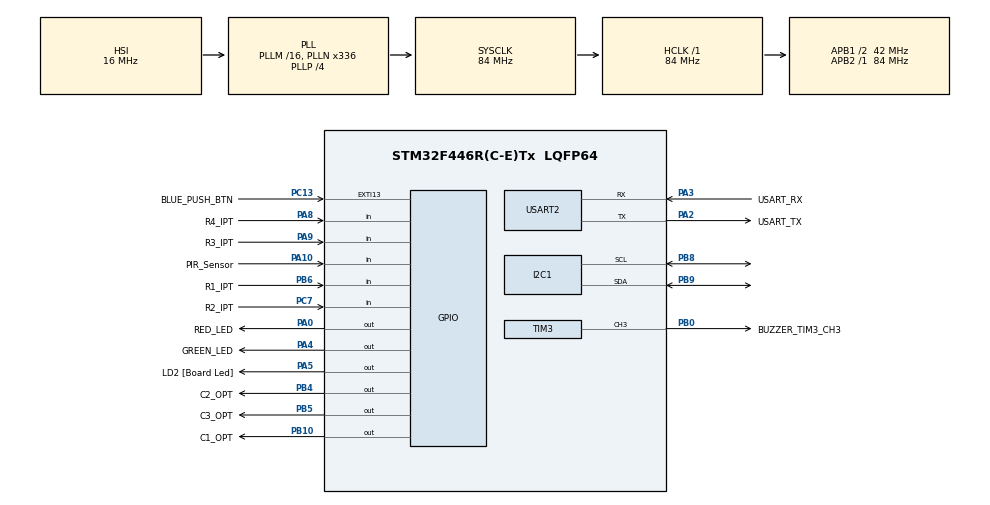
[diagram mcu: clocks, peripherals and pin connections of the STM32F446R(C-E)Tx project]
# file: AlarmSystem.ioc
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FREERTOS.Mutexes01=myMutex,Dynamic,NULL,Available;isArmedMutex,Dynamic,NULL,Available
FREERTOS.Queues01=myQueue01,6,uint16_t,0,Dynamic,NULL,NULL
FREERTOS.Tasks01=KeyPadIptTask,24,128,StartKeyPadIptTask,Default,NULL,Dynamic,NULL,NULL;LCDLine2Pword,24,128,StartLCDLine2PwordTask,Default,NULL,Dynamic,NULL,NULL;Red_LEDTask,24,128,StartRED_LEDTask,Default,NULL,Dynamic,NULL,NULL;Green_LEDTask,24,128,StartGreen_LEDTask,Default,NULL,Dynamic,NULL,NULL;LCDLine1Task,24,128,StartLCDLine1Task,Default,NULL,Dynamic,NULL,NULL;resetPwordTask,24,128,StartResetPwordTask,Default,NULL,Dynamic,NULL,NULL;PIRsensorTask,24,128,StartPIRsensorTask,Default,NULL,Dynamic,NULL,NULL;LCDLine2TIM,24,128,StartLCDLine2TIMTask,Default,NULL,Dynamic,NULL,NULL
FREERTOS.configUSE_NEWLIB_REENTRANT=1
Mcu.Family=STM32F4
Mcu.Name=STM32F446R(C-E)Tx
Mcu.Package=LQFP64
NVIC.EXTI15_10_IRQn=true\:5\:0\:false\:false\:true\:true\:true\:true\:true
NVIC.PriorityGroup=NVIC_PRIORITYGROUP_4
NVIC.TIM6_DAC_IRQn=true\:15\:0\:false\:false\:true\:false\:false\:true\:true
NVIC.TimeBase=TIM6_DAC_IRQn
NVIC.TimeBaseIP=TIM6
PA0-WKUP.GPIO_Label=RED_LED
PA0-WKUP.Signal=GPIO_Output
PA10.GPIO_Label=PIR_Sensor
PA10.Signal=GPIO_Input
PA13.GPIO_Label=TMS
PA13.Mode=Serial_Wire
PA13.Signal=SYS_JTMS-SWDIO
PA14.GPIO_Label=TCK
PA14.Mode=Serial_Wire
PA14.Signal=SYS_JTCK-SWCLK
PA2.GPIO_Label=USART_TX
PA2.Mode=Asynchronous
PA2.Signal=USART2_TX
PA3.GPIO_Label=USART_RX
PA3.Mode=Asynchronous
PA3.Signal=USART2_RX
PA4.GPIO_Label=GREEN_LED
PA4.Signal=GPIO_Output
PA5.GPIO_Label=LD2 [Board Led]
PA5.Signal=GPIO_Output
PA8.GPIO_Label=R4_IPT
PA8.GPIO_PuPd=GPIO_PULLUP
PA8.Signal=GPIO_Input
PA9.GPIO_Label=R3_IPT
PA9.GPIO_PuPd=GPIO_PULLUP
PA9.Signal=GPIO_Input
PB0.GPIO_Label=BUZZER_TIM3_CH3
PB0.Signal=S_TIM3_CH3
PB10.GPIO_Label=C1_OPT
PB10.PinState=GPIO_PIN_RESET
PB10.Signal=GPIO_Output
PB3.GPIO_Label=SWO
PB3.Signal=SYS_JTDO-SWO
PB4.GPIO_Label=C2_OPT
PB4.PinState=GPIO_PIN_RESET
PB4.Signal=GPIO_Output
PB5.GPIO_Label=C3_OPT
PB5.PinState=GPIO_PIN_RESET
PB5.Signal=GPIO_Output
PB6.GPIO_Label=R1_IPT
PB6.GPIO_PuPd=GPIO_PULLUP
PB6.Signal=GPIO_Input
PB8.Mode=I2C
PB8.Signal=I2C1_SCL
PB9.Mode=I2C
PB9.Signal=I2C1_SDA
PC13.GPIO_Label=BLUE_PUSH_BTN
PC13.GPIO_ModeDefaultEXTI=GPIO_MODE_IT_FALLING
PC13.Signal=GPXTI13
PC14-OSC32_IN.Mode=LSE-External-Oscillator
PC14-OSC32_IN.Signal=RCC_OSC32_IN
PC15-OSC32_OUT.Mode=LSE-External-Oscillator
PC15-OSC32_OUT.Signal=RCC_OSC32_OUT
PC7.GPIO_Label=R2_IPT
PC7.GPIO_PuPd=GPIO_PULLUP
PC7.Signal=GPIO_Input
PH0-OSC_IN.Mode=HSE-External-Oscillator
PH0-OSC_IN.Signal=RCC_OSC_IN
PH1-OSC_OUT.Mode=HSE-External-Oscillator
PH1-OSC_OUT.Signal=RCC_OSC_OUT
ProjectManager.HeapSize=0x200
ProjectManager.StackSize=0x400
ProjectManager.TargetToolchain=STM32CubeIDE
RCC.48MHZClocksFreq_Value=84000000
RCC.AHBFreq_Value=84000000
RCC.APB1CLKDivider=RCC_HCLK_DIV2
RCC.APB1Freq_Value=42000000
RCC.APB1TimFreq_Value=84000000
RCC.APB2Freq_Value=84000000
RCC.APB2TimFreq_Value=84000000
RCC.CortexFreq_Value=84000000
RCC.FLatency-AdvancedSettings=FLASH_LATENCY_2
RCC.HCLKFreq_Value=84000000
RCC.HSE_VALUE=8000000
RCC.HSI_VALUE=16000000
RCC.PLLN=336
RCC.PLLP=RCC_PLLP_DIV4
RCC.SYSCLKFreq_VALUE=84000000
RCC.SYSCLKSource=RCC_SYSCLKSOURCE_PLLCLK
RCC.USBFreq_Value=168000000
RCC.VCOOutputFreq_Value=336000000
SH.S_TIM3_CH3.0=TIM3_CH3,PWM Generation3 CH3
TIM3.AutoReloadPreload=TIM_AUTORELOAD_PRELOAD_DISABLE
TIM3.Channel-PWM\ Generation3\ CH3=TIM_CHANNEL_3
TIM3.Period=1000-1
TIM3.Prescaler=84-1
USART2.VirtualMode=VM_ASYNC
VP_FREERTOS_VS_CMSIS_V2.Mode=CMSIS_V2
VP_SYS_VS_tim6.Mode=TIM6
VP_TIM3_VS_ClockSourceINT.Mode=Internal
board=NUCLEO-F446RE

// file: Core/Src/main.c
/* USER CODE BEGIN Header */
/**
  ******************************************************************************
  * @file           : main.c
  * @brief          : Main program body
  ******************************************************************************
  * @attention
  *
  * Copyright (c) 2025 STMicroelectronics.
  * All rights reserved.
  *
  * This software is licensed under terms that can be found in the LICENSE file
  * in the root directory of this software component.
  * If no LICENSE file comes with this software, it is provided AS-IS.
  *
  ******************************************************************************
  */
/* USER CODE END Header */
#include "main.h"
#include "cmsis_os.h"

/* USER CODE BEGIN Includes */
#include "stm32f4xx_hal.h"
#include "liquidcrystal_i2c.h"
/* USER CODE END Includes */

/* USER CODE BEGIN PM */
#define ARMED 0x00
#define DISARMED 0x01
#define OLD_PASSWORD 0x10
#define NEW_PASSWORD 0x11
#define ENTER_KEY 0xFF

#define MAX_PASSWORD_LENGTH 6
#define MIN_PASSWORD_LENGTH 4

#define START_ADDRESS 0x08060000

/* USER CODE END PM */

I2C_HandleTypeDef hi2c1;

TIM_HandleTypeDef htim3;

UART_HandleTypeDef huart2;

/* Definitions for KeyPadIptTask */
osThreadId_t KeyPadIptTaskHandle;
const osThreadAttr_t KeyPadIptTask_attributes = {
  .name = "KeyPadIptTask",
  .stack_size = 128 * 4,
  .priority = (osPriority_t) osPriorityNormal,
};
/* Definitions for LCDLine2Pword */
osThreadId_t LCDLine2PwordHandle;
const osThreadAttr_t LCDLine2Pword_attributes = {
  .name = "LCDLine2Pword",
  .stack_size = 128 * 4,
  .priority = (osPriority_t) osPriorityNormal,
};
/* Definitions for Red_LEDTask */
osThreadId_t Red_LEDTaskHandle;
const osThreadAttr_t Red_LEDTask_attributes = {
  .name = "Red_LEDTask",
  .stack_size = 128 * 4,
  .priority = (osPriority_t) osPriorityNormal,
};
/* Definitions for Green_LEDTask */
osThreadId_t Green_LEDTaskHandle;
const osThreadAttr_t Green_LEDTask_attributes = {
  .name = "Green_LEDTask",
  .stack_size = 128 * 4,
  .priority = (osPriority_t) osPriorityNormal,
};
/* Definitions for LCDLine1Task */
osThreadId_t LCDLine1TaskHandle;
const osThreadAttr_t LCDLine1Task_attributes = {
  .name = "LCDLine1Task",
  .stack_size = 128 * 4,
  .priority = (osPriority_t) osPriorityNormal,
};
/* Definitions for resetPwordTask */
osThreadId_t resetPwordTaskHandle;
const osThreadAttr_t resetPwordTask_attributes = {
  .name = "resetPwordTask",
  .stack_size = 128 * 4,
  .priority = (osPriority_t) osPriorityNormal,
};
/* Definitions for PIRsensorTask */
osThreadId_t PIRsensorTaskHandle;
const osThreadAttr_t PIRsensorTask_attributes = {
  .name = "PIRsensorTask",
  .stack_size = 128 * 4,
  .priority = (osPriority_t) osPriorityNormal,
};
/* Definitions for LCDLine2TIM */
osThreadId_t LCDLine2TIMHandle;
const osThreadAttr_t LCDLine2TIM_attributes = {
  .name = "LCDLine2TIM",
  .stack_size = 128 * 4,
  .priority = (osPriority_t) osPriorityNormal,
};
/* Definitions for myQueue01 */
osMessageQueueId_t myQueue01Handle;
const osMessageQueueAttr_t myQueue01_attributes = {
  .name = "myQueue01"
};
/* Definitions for myMutex */
osMutexId_t myMutexHandle;
const osMutexAttr_t myMutex_attributes = {
  .name = "myMutex"
};
/* Definitions for isArmedMutex */
osMutexId_t isArmedMutexHandle;
const osMutexAttr_t isArmedMutex_attributes = {
  .name = "isArmedMutex"
};

void SystemClock_Config(void);
static void MX_GPIO_Init(void);
static void MX_USART2_UART_Init(void);
static void MX_I2C1_Init(void);
static void MX_TIM3_Init(void);
void StartKeyPadIptTask(void *argument);
void StartLCDLine2PwordTask(void *argument);
void StartRED_LEDTask(void *argument);
void StartGreen_LEDTask(void *argument);
void StartLCDLine1Task(void *argument);
void StartResetPwordTask(void *argument);
void StartPIRsensorTask(void *argument);
void StartLCDLine2TIMTask(void *argument);

/* USER CODE BEGIN 0 */

//void HAL_GPIO_EXTI_Callback(uint16_t GPIO_Pin){
//	if(GPIO_Pin==BLUE_PUSH_BTN_Pin){
//		BaseType_t xHigherPriorityTaskWoken = pdFALSE;
//		xTaskNotifyFromISR(LCDLine2TaskHandle,0xFE,eSetValueWithOverwrite,&xHigherPriorityTaskWoken);
//		portYIELD_FROM_ISR(xHigherPriorityTaskWoken);
//	}
//}

// Function to convert ASCII value to char (integer from 0-9 inclusive)
char ASCIItoChar(uint8_t asciiVal){
    return (char)(asciiVal+0);
}

// Function to write to flash

void Write_to_Flash(uint32_t startMemAddress,char* data){
	FLASH_EraseInitTypeDef flash_erase_struct={0};

	// 1) Unlock the flash
	HAL_FLASH_Unlock();

	// 2) Set necessary fields in the flash data structure
	flash_erase_struct.NbSectors=1;
	flash_erase_struct.Sector=FLASH_SECTOR_7;
	flash_erase_struct.VoltageRange=FLASH_VOLTAGE_RANGE_3;
	flash_erase_struct.TypeErase=FLASH_TYPEERASE_SECTORS;

	// 3) Erase the flash sector that we will write to (in this case last sector)
	uint32_t  error_status;
	HAL_FLASHEx_Erase(&flash_erase_struct, &error_status);

	// 4) Write to the flash starting at the sector address
	//    Writing is done in contiguous memory
	uint32_t memAddress=startMemAddress;
	for(int i=0;i<strlen(data);i++){
		HAL_FLASH_Program(FLASH_TYPEPROGRAM_BYTE, memAddress, data[i]);
		memAddress++;
	}

	// 5) Lock the flash when done writing
	HAL_FLASH_Lock();
}

// Function to read from Flash memory
// Returns the string stored in the Flash address
char* Read_from_Flash(uint32_t startMemAddress){

	// Pointer to first address in the sector in Flash
	uint8_t* flash_address = (uint8_t*)startMemAddress;

	// Static array so that it is not destroyed upon return from the function
	// If so it would have been stored on the stack,
	// but now it is stored on BSS segment
	static char pwordInFlash[6];

	int cnt=0;
	while(1){
		// When we reach ASCII value larger than 57 (9 in decimal)
		// We reach an area in Flash that contains garbage values as nothing
		// was written to it.
		if(*flash_address>57){
			break;
		}

		// Convert from ASCII to decimal
		// Increase the pointer to go to next value in Flash memory
		pwordInFlash[cnt++]=ASCIItoChar(*(flash_address++));
	}
	// Null terminated array
	pwordInFlash[cnt]='\0';

	return pwordInFlash;
}

// Function writes * symbols on screen every keypad press
void Write_To_LCD(int cnt){
	//Write respective amount of * characters on screen
	char screenContent[cnt];
	memset(screenContent,'*',cnt);
	screenContent[cnt]='\0';

	// use mutex to synchronize use of shared ressource (LCD screen)
	osMutexAcquire(myMutexHandle, osWaitForever);
	HD44780_SetCursor(0,1);
	HD44780_PrintStr(screenContent);
	osMutexRelease(myMutexHandle);
}

// Clear Line 2 of LCD Screen
void Clear_LCD_Line2Screen(){

	// use mutex to synchronize use of shared ressource (LCD screen)
	osMutexAcquire(myMutexHandle, osWaitForever);
	//Erase line 2 of LCD Screen with spaces.
	HD44780_SetCursor(0,1);
	for(int i=0;i<16;i++){
		HD44780_PrintStr(" ");
	}
	osMutexRelease(myMutexHandle);
}

/* USER CODE END 0 */

int main(void)
{

  /* MCU Configuration--------------------------------------------------------*/

  /* Reset of all peripherals, Initializes the Flash interface and the Systick. */
  HAL_Init();

  /* Configure the system clock */
  SystemClock_Config();

  /* Initialize all configured peripherals */
  MX_GPIO_Init();
  MX_USART2_UART_Init();
  MX_I2C1_Init();
  MX_TIM3_Init();
  /* USER CODE BEGIN 2 */
  HAL_TIM_PWM_Start(&htim3, TIM_CHANNEL_3);
  /* USER CODE END 2 */

  /* Init scheduler */
  osKernelInitialize();
  /* Create the mutex(es) */
  /* creation of myMutex */
  myMutexHandle = osMutexNew(&myMutex_attributes);

  /* creation of isArmedMutex */
  isArmedMutexHandle = osMutexNew(&isArmedMutex_attributes);

  /* Create the queue(s) */
  /* creation of myQueue01 */
  myQueue01Handle = osMessageQueueNew (6, sizeof(uint16_t), &myQueue01_attributes);

  /* Create the thread(s) */
  /* creation of KeyPadIptTask */
  KeyPadIptTaskHandle = osThreadNew(StartKeyPadIptTask, NULL, &KeyPadIptTask_attributes);

  /* creation of LCDLine2Pword */
  LCDLine2PwordHandle = osThreadNew(StartLCDLine2PwordTask, NULL, &LCDLine2Pword_attributes);

  /* creation of Red_LEDTask */
  Red_LEDTaskHandle = osThreadNew(StartRED_LEDTask, NULL, &Red_LEDTask_attributes);

  /* creation of Green_LEDTask */
  Green_LEDTaskHandle = osThreadNew(StartGreen_LEDTask, NULL, &Green_LEDTask_attributes);

  /* creation of LCDLine1Task */
  LCDLine1TaskHandle = osThreadNew(StartLCDLine1Task, NULL, &LCDLine1Task_attributes);

  /* creation of resetPwordTask */
  resetPwordTaskHandle = osThreadNew(StartResetPwordTask, NULL, &resetPwordTask_attributes);

  /* creation of PIRsensorTask */
  PIRsensorTaskHandle = osThreadNew(StartPIRsensorTask, NULL, &PIRsensorTask_attributes);

  /* creation of LCDLine2TIM */
  LCDLine2TIMHandle = osThreadNew(StartLCDLine2TIMTask, NULL, &LCDLine2TIM_attributes);

  /* Start scheduler */
  osKernelStart();

  /* We should never get here as control is now taken by the scheduler */

  /* Infinite loop */
  while (1)
  {

  }
}

void SystemClock_Config(void)
{
  RCC_OscInitTypeDef RCC_OscInitStruct = {0};
  RCC_ClkInitTypeDef RCC_ClkInitStruct = {0};

  /** Configure the main internal regulator output voltage
  */
  __HAL_RCC_PWR_CLK_ENABLE();
  __HAL_PWR_VOLTAGESCALING_CONFIG(PWR_REGULATOR_VOLTAGE_SCALE3);

  /** Initializes the RCC Oscillators according to the specified parameters
  * in the RCC_OscInitTypeDef structure.
  */
  RCC_OscInitStruct.OscillatorType = RCC_OSCILLATORTYPE_HSI;
  RCC_OscInitStruct.HSIState = RCC_HSI_ON;
  RCC_OscInitStruct.HSICalibrationValue = RCC_HSICALIBRATION_DEFAULT;
  RCC_OscInitStruct.PLL.PLLState = RCC_PLL_ON;
  RCC_OscInitStruct.PLL.PLLSource = RCC_PLLSOURCE_HSI;
  RCC_OscInitStruct.PLL.PLLM = 16;
  RCC_OscInitStruct.PLL.PLLN = 336;
  RCC_OscInitStruct.PLL.PLLP = RCC_PLLP_DIV4;
  RCC_OscInitStruct.PLL.PLLQ = 2;
  RCC_OscInitStruct.PLL.PLLR = 2;
  if (HAL_RCC_OscConfig(&RCC_OscInitStruct) != HAL_OK)
  {
    Error_Handler();
  }

  /** Initializes the CPU, AHB and APB buses clocks
  */
  RCC_ClkInitStruct.ClockType = RCC_CLOCKTYPE_HCLK|RCC_CLOCKTYPE_SYSCLK
                              |RCC_CLOCKTYPE_PCLK1|RCC_CLOCKTYPE_PCLK2;
  RCC_ClkInitStruct.SYSCLKSource = RCC_SYSCLKSOURCE_PLLCLK;
  RCC_ClkInitStruct.AHBCLKDivider = RCC_SYSCLK_DIV1;
  RCC_ClkInitStruct.APB1CLKDivider = RCC_HCLK_DIV2;
  RCC_ClkInitStruct.APB2CLKDivider = RCC_HCLK_DIV1;

  if (HAL_RCC_ClockConfig(&RCC_ClkInitStruct, FLASH_LATENCY_2) != HAL_OK)
  {
    Error_Handler();
  }
}

static void MX_I2C1_Init(void)
{

  hi2c1.Instance = I2C1;
  hi2c1.Init.ClockSpeed = 100000;
  hi2c1.Init.DutyCycle = I2C_DUTYCYCLE_2;
  hi2c1.Init.OwnAddress1 = 0;
  hi2c1.Init.AddressingMode = I2C_ADDRESSINGMODE_7BIT;
  hi2c1.Init.DualAddressMode = I2C_DUALADDRESS_DISABLE;
  hi2c1.Init.OwnAddress2 = 0;
  hi2c1.Init.GeneralCallMode = I2C_GENERALCALL_DISABLE;
  hi2c1.Init.NoStretchMode = I2C_NOSTRETCH_DISABLE;
  if (HAL_I2C_Init(&hi2c1) != HAL_OK)
  {
    Error_Handler();
  }

}

static void MX_TIM3_Init(void)
{

  TIM_ClockConfigTypeDef sClockSourceConfig = {0};
  TIM_MasterConfigTypeDef sMasterConfig = {0};
  TIM_OC_InitTypeDef sConfigOC = {0};

  htim3.Instance = TIM3;
  htim3.Init.Prescaler = 84-1;
  htim3.Init.CounterMode = TIM_COUNTERMODE_UP;
  htim3.Init.Period = 1000-1;
  htim3.Init.ClockDivision = TIM_CLOCKDIVISION_DIV1;
  htim3.Init.AutoReloadPreload = TIM_AUTORELOAD_PRELOAD_DISABLE;
  if (HAL_TIM_Base_Init(&htim3) != HAL_OK)
  {
    Error_Handler();
  }
  sClockSourceConfig.ClockSource = TIM_CLOCKSOURCE_INTERNAL;
  if (HAL_TIM_ConfigClockSource(&htim3, &sClockSourceConfig) != HAL_OK)
  {
    Error_Handler();
  }
  if (HAL_TIM_PWM_Init(&htim3) != HAL_OK)
  {
    Error_Handler();
  }
  sMasterConfig.MasterOutputTrigger = TIM_TRGO_RESET;
  sMasterConfig.MasterSlaveMode = TIM_MASTERSLAVEMODE_DISABLE;
  if (HAL_TIMEx_MasterConfigSynchronization(&htim3, &sMasterConfig) != HAL_OK)
  {
    Error_Handler();
  }
  sConfigOC.OCMode = TIM_OCMODE_PWM1;
  sConfigOC.Pulse = 0;
  sConfigOC.OCPolarity = TIM_OCPOLARITY_HIGH;
  sConfigOC.OCFastMode = TIM_OCFAST_DISABLE;
  if (HAL_TIM_PWM_ConfigChannel(&htim3, &sConfigOC, TIM_CHANNEL_3) != HAL_OK)
  {
    Error_Handler();
  }
  HAL_TIM_MspPostInit(&htim3);

}

static void MX_USART2_UART_Init(void)
{

  huart2.Instance = USART2;
  huart2.Init.BaudRate = 115200;
  huart2.Init.WordLength = UART_WORDLENGTH_8B;
  huart2.Init.StopBits = UART_STOPBITS_1;
  huart2.Init.Parity = UART_PARITY_NONE;
  huart2.Init.Mode = UART_MODE_TX_RX;
  huart2.Init.HwFlowCtl = UART_HWCONTROL_NONE;
  huart2.Init.OverSampling = UART_OVERSAMPLING_16;
  if (HAL_UART_Init(&huart2) != HAL_OK)
  {
    Error_Handler();
  }

}

static void MX_GPIO_Init(void)
{
  GPIO_InitTypeDef GPIO_InitStruct = {0};

  /* GPIO Ports Clock Enable */
  __HAL_RCC_GPIOC_CLK_ENABLE();
  __HAL_RCC_GPIOH_CLK_ENABLE();
  __HAL_RCC_GPIOA_CLK_ENABLE();
  __HAL_RCC_GPIOB_CLK_ENABLE();

  /*Configure GPIO pin Output Level */
  HAL_GPIO_WritePin(GPIOA, RED_LED_Pin|GREEN_LED_Pin|LD2_Pin, GPIO_PIN_RESET);

  /*Configure GPIO pin Output Level */
  HAL_GPIO_WritePin(GPIOB, C1_OPT_Pin|C2_OPT_Pin|C3_OPT_Pin, GPIO_PIN_RESET);

  /*Configure GPIO pin : BLUE_PUSH_BTN_Pin */
  GPIO_InitStruct.Pin = BLUE_PUSH_BTN_Pin;
  GPIO_InitStruct.Mode = GPIO_MODE_IT_FALLING;
  GPIO_InitStruct.Pull = GPIO_NOPULL;
  HAL_GPIO_Init(BLUE_PUSH_BTN_GPIO_Port, &GPIO_InitStruct);

  /*Configure GPIO pins : RED_LED_Pin GREEN_LED_Pin LD2_Pin */
  GPIO_InitStruct.Pin = RED_LED_Pin|GREEN_LED_Pin|LD2_Pin;
  GPIO_InitStruct.Mode = GPIO_MODE_OUTPUT_PP;
  GPIO_InitStruct.Pull = GPIO_NOPULL;
  GPIO_InitStruct.Speed = GPIO_SPEED_FREQ_LOW;
  HAL_GPIO_Init(GPIOA, &GPIO_InitStruct);

  /*Configure GPIO pins : C1_OPT_Pin C2_OPT_Pin C3_OPT_Pin */
  GPIO_InitStruct.Pin = C1_OPT_Pin|C2_OPT_Pin|C3_OPT_Pin;
  GPIO_InitStruct.Mode = GPIO_MODE_OUTPUT_PP;
  GPIO_InitStruct.Pull = GPIO_NOPULL;
  GPIO_InitStruct.Speed = GPIO_SPEED_FREQ_LOW;
  HAL_GPIO_Init(GPIOB, &GPIO_InitStruct);

  /*Configure GPIO pin : R2_IPT_Pin */
  GPIO_InitStruct.Pin = R2_IPT_Pin;
  GPIO_InitStruct.Mode = GPIO_MODE_INPUT;
  GPIO_InitStruct.Pull = GPIO_PULLUP;
  HAL_GPIO_Init(R2_IPT_GPIO_Port, &GPIO_InitStruct);

  /*Configure GPIO pins : R4_IPT_Pin R3_IPT_Pin */
  GPIO_InitStruct.Pin = R4_IPT_Pin|R3_IPT_Pin;
  GPIO_InitStruct.Mode = GPIO_MODE_INPUT;
  GPIO_InitStruct.Pull = GPIO_PULLUP;
  HAL_GPIO_Init(GPIOA, &GPIO_InitStruct);

  /*Configure GPIO pin : PIR_Sensor_Pin */
  GPIO_InitStruct.Pin = PIR_Sensor_Pin;
  GPIO_InitStruct.Mode = GPIO_MODE_INPUT;
  GPIO_InitStruct.Pull = GPIO_NOPULL;
  HAL_GPIO_Init(PIR_Sensor_GPIO_Port, &GPIO_InitStruct);

  /*Configure GPIO pin : R1_IPT_Pin */
  GPIO_InitStruct.Pin = R1_IPT_Pin;
  GPIO_InitStruct.Mode = GPIO_MODE_INPUT;
  GPIO_InitStruct.Pull = GPIO_PULLUP;
  HAL_GPIO_Init(R1_IPT_GPIO_Port, &GPIO_InitStruct);

  /* EXTI interrupt init*/
  HAL_NVIC_SetPriority(EXTI15_10_IRQn, 5, 0);
  HAL_NVIC_EnableIRQ(EXTI15_10_IRQn);

}

/* USER CODE BEGIN 4 */
uint8_t pword[6];
uint8_t is_armed=0;

// Function that handles keypad presses
// Returns array of keys pressed forming password
char* keyPressHandler(uint32_t ulNotificationValue,int cnt){
	//static to preserve  password state across function calls
	static char pword[6];

	char temp[5];

	if(ulNotificationValue==ENTER_KEY || ulNotificationValue==0xFE || ulNotificationValue==0x11){
		pword[cnt]='\0';
		return pword;
	}
	else{
		if(ulNotificationValue==0x00){
			pword[cnt]='0';
		}
		else if(ulNotificationValue==0x01){
			pword[cnt]='1';
		}
		else if(ulNotificationValue==0x02){
			pword[cnt]='2';
		}
		else if(ulNotificationValue==0x03){
			pword[cnt]='3';
		}
		else if(ulNotificationValue==0x04){
			pword[cnt]='4';
		}
		else if(ulNotificationValue==0x05){
			pword[cnt]='5';
		}
		else if(ulNotificationValue==0x06){
			pword[cnt]='6';
		}
		else if(ulNotificationValue==0x07){
			pword[cnt]='7';
		}
		else if(ulNotificationValue==0x08){
			pword[cnt]='8';
		}
		else if(ulNotificationValue==0x09){
			pword[cnt]='9';
		}
		return pword;
	}
}

// read keypad function that returns pressed key value (in hex)
uint8_t readKeypadChar(){
	uint8_t val;

	//Infinite loop so that it continuously prompts user to enter
	//value and only breaks when keypad is pressed
	while(1){
		HAL_GPIO_WritePin(C1_OPT_GPIO_Port, C1_OPT_Pin, 0);
		HAL_GPIO_WritePin(C2_OPT_GPIO_Port, C2_OPT_Pin, 1);
		HAL_GPIO_WritePin(C3_OPT_GPIO_Port, C3_OPT_Pin, 1);

		if(!HAL_GPIO_ReadPin(R1_IPT_GPIO_Port, R1_IPT_Pin)){
			while(!HAL_GPIO_ReadPin(R1_IPT_GPIO_Port, R1_IPT_Pin));
			val=0x01;
			break;
		}
		else if(!HAL_GPIO_ReadPin(R2_IPT_GPIO_Port, R2_IPT_Pin)){
			while(!HAL_GPIO_ReadPin(R2_IPT_GPIO_Port, R2_IPT_Pin));
			val=0x04;
			break;
		}
		else if(!HAL_GPIO_ReadPin(R3_IPT_GPIO_Port, R3_IPT_Pin)){
			while(!HAL_GPIO_ReadPin(R3_IPT_GPIO_Port, R3_IPT_Pin));
			val=0x07;
			break;
		}
		else if(!HAL_GPIO_ReadPin(R4_IPT_GPIO_Port, R4_IPT_Pin)){
			while(!HAL_GPIO_ReadPin(R4_IPT_GPIO_Port, R4_IPT_Pin));
			val=ENTER_KEY;
			break;
		}

		HAL_GPIO_WritePin(C1_OPT_GPIO_Port, C1_OPT_Pin, 1);
		HAL_GPIO_WritePin(C2_OPT_GPIO_Port, C2_OPT_Pin, 0);
		HAL_GPIO_WritePin(C3_OPT_GPIO_Port, C3_OPT_Pin, 1);

		if(!HAL_GPIO_ReadPin(R1_IPT_GPIO_Port, R1_IPT_Pin)){
			while(!HAL_GPIO_ReadPin(R1_IPT_GPIO_Port, R1_IPT_Pin));
			val=0x02;
			break;
		}
		else if(!HAL_GPIO_ReadPin(R2_IPT_GPIO_Port, R2_IPT_Pin)){
			while(!HAL_GPIO_ReadPin(R2_IPT_GPIO_Port, R2_IPT_Pin));
			val=0x05;
			break;
		}
		else if(!HAL_GPIO_ReadPin(R3_IPT_GPIO_Port, R3_IPT_Pin)){
			while(!HAL_GPIO_ReadPin(R3_IPT_GPIO_Port, R3_IPT_Pin));
			val=0x08;
			break;
		}
		else if(!HAL_GPIO_ReadPin(R4_IPT_GPIO_Port, R4_IPT_Pin)){
			while(!HAL_GPIO_ReadPin(R4_IPT_GPIO_Port, R4_IPT_Pin));
			val=0x00;
			break;
		}

		HAL_GPIO_WritePin(C1_OPT_GPIO_Port, C1_OPT_Pin, 1);
		HAL_GPIO_WritePin(C2_OPT_GPIO_Port, C2_OPT_Pin, 1);
		HAL_GPIO_WritePin(C3_OPT_GPIO_Port, C3_OPT_Pin, 0);

		if(!HAL_GPIO_ReadPin(R1_IPT_GPIO_Port, R1_IPT_Pin)){
			while(!HAL_GPIO_ReadPin(R1_IPT_GPIO_Port, R1_IPT_Pin));
			val=0x03;
			break;
		}
		else if(!HAL_GPIO_ReadPin(R2_IPT_GPIO_Port, R2_IPT_Pin)){
			while(!HAL_GPIO_ReadPin(R2_IPT_GPIO_Port, R2_IPT_Pin));
			val=0x06;
			break;
		}
		else if(!HAL_GPIO_ReadPin(R3_IPT_GPIO_Port, R3_IPT_Pin)){
			while(!HAL_GPIO_ReadPin(R3_IPT_GPIO_Port, R3_IPT_Pin));
			val=0x09;
			break;
		}
		else if(!HAL_GPIO_ReadPin(R4_IPT_GPIO_Port, R4_IPT_Pin)){
			while(!HAL_GPIO_ReadPin(R4_IPT_GPIO_Port, R4_IPT_Pin));
			val=0x11;
			break;
		}
	}
	return val;
}
/* USER CODE END 4 */

void StartKeyPadIptTask(void *argument)
{
  /* USER CODE BEGIN 5 */
	HD44780_Init(2);
	HD44780_Clear();
	HD44780_Backlight();

	//System starts in DISARMED mode
	uint8_t val;
	xTaskNotify(Green_LEDTaskHandle,DISARMED,eSetValueWithOverwrite);
/* Infinite loop */
	for(;;)
	{
	  //blocking function until keypad press
	  val=readKeypadChar();

	  uint8_t arr[10];
	  sprintf(arr,"%d\r\n",val);
	  HAL_UART_Transmit(&huart2, arr, strlen(arr), osWaitForever);
	  xTaskNotify(LCDLine2PwordHandle,val,eSetValueWithOverwrite);
	}
  /* USER CODE END 5 */
}

void StartLCDLine2PwordTask(void *argument)
{
  /* USER CODE BEGIN StartLCDLine2PwordTask */
	uint32_t ulNotificationValue;
	int cnt=0;
	int resetPasswordReadyFlag=1,newPasswordFlag=0;
	char pword[MAX_PASSWORD_LENGTH];

	uint8_t temp_is_armed;
	HAL_UART_Transmit(&huart2, "\r\n", 2, osWaitForever);
	HAL_UART_Transmit(&huart2, Read_from_Flash(START_ADDRESS), strlen(Read_from_Flash(START_ADDRESS)), osWaitForever);
  /* Infinite loop */
  for(;;)
  {

	/* Infinite loop */
	if(xTaskNotifyWait(0, 0xffffffff, &ulNotificationValue, portMAX_DELAY)){

		//Copy value of keyPressHandler into pword array
		strcpy(pword,keyPressHandler(ulNotificationValue,cnt));

		osMutexAcquire(isArmedMutexHandle, osWaitForever);
		temp_is_armed=is_armed;
		osMutexRelease(isArmedMutexHandle);

		// User presses # key in the DISARMED state.
		// Alternates between OLD_PASSWORD and DISARMED states.
		if(ulNotificationValue==NEW_PASSWORD && !temp_is_armed){
			cnt=0;
			Clear_LCD_Line2Screen();
			if(resetPasswordReadyFlag){
				HAL_UART_Transmit(&huart2, "NEWPASSWORD!!!!\r\n", strlen("NEWPASSWORD!!!!\r\n"), osWaitForever);
				resetPasswordReadyFlag=0;
				xTaskNotify(resetPwordTaskHandle,OLD_PASSWORD,eSetValueWithOverwrite);
			}
			else{
				HAL_UART_Transmit(&huart2, "SECOND ELSE \r\n", strlen("SECOND ELSE \r\n"), osWaitForever);
				newPasswordFlag=0;
				resetPasswordReadyFlag=1;
				xTaskNotify(Green_LEDTaskHandle,DISARMED,eSetValueWithOverwrite);
			}
		}

		// If exceeded MAX_PASSWORD_LENGTH (6) or user presses enter key.
		else if(cnt==(MAX_PASSWORD_LENGTH-1) || ulNotificationValue==ENTER_KEY){
				// User presses enter and/or password length is between 4 and 6
				if((ulNotificationValue==ENTER_KEY && cnt>=MIN_PASSWORD_LENGTH) || cnt==(MAX_PASSWORD_LENGTH-1)){
					cnt=0;
					Clear_LCD_Line2Screen();

					// After user sets new password, we go back to DISARMED state
					if(newPasswordFlag){
						HAL_UART_Transmit(&huart2, "idk this is newpasswordflag\n\r", strlen("idk this is newpasswordflag\n\r"), osWaitForever);

						Write_to_Flash(START_ADDRESS, pword);
						xTaskNotify(Green_LEDTaskHandle,DISARMED,eSetValueWithOverwrite);
						newPasswordFlag=0;
						resetPasswordReadyFlag=1;
					}
					// If user is entering old password (to arm, disarm or to change passwords).
					else{

						// If user arms the alarm with the correct password (strcmp verifies correctness)
						if(!temp_is_armed && resetPasswordReadyFlag && !strcmp(pword,Read_from_Flash(START_ADDRESS))){
							uint8_t temp[100];
							sprintf(temp,"resetPasswordFlag = %d 1st if\n\r",resetPasswordReadyFlag);
							HAL_UART_Transmit(&huart2, temp, strlen(temp), osWaitForever);

							resetPasswordReadyFlag=0;
							osMutexAcquire(isArmedMutexHandle, osWaitForever);
							is_armed=1;
							osMutexRelease(isArmedMutexHandle);
							xTaskNotify(Red_LEDTaskHandle,ARMED,eSetValueWithOverwrite);

						}

						// If user disarms the alarm with the correct password (strcmp verifies correctness)
						else if(temp_is_armed && !resetPasswordReadyFlag && !strcmp(pword,Read_from_Flash(START_ADDRESS))){
							HAL_UART_Transmit(&huart2, "NOWAYBRUGHHH\n\r", strlen("NOWAYBRUGHHH\n\r"), osWaitForever);

							resetPasswordReadyFlag=1;
							osMutexAcquire(isArmedMutexHandle, osWaitForever);
							is_armed=0;
							osMutexRelease(isArmedMutexHandle);
							xTaskNotify(Green_LEDTaskHandle,DISARMED,eSetValueWithOverwrite);
						}

						// If user wants to change password.
						// Correct system password must be entered (strcmp verifies correctness)
						else if(!resetPasswordReadyFlag && !strcmp(pword,Read_from_Flash(START_ADDRESS))){
							uint8_t temp[100];
							sprintf(temp,"resetPasswordFlag = %d 3rd elseif\n\r",resetPasswordReadyFlag);

							xTaskNotify(resetPwordTaskHandle,NEW_PASSWORD,eSetValueWithOverwrite);
							newPasswordFlag=1;
						}
					}
				}
			}
			// Generic user input. Cannot accept reset password key (#) when alarm is in AMRED state
			else if(!(temp_is_armed && ulNotificationValue==NEW_PASSWORD)){
				Write_To_LCD(cnt+1);
				cnt++;
			}
		}

  }
   /* USER CODE END StartLCDLine2PwordTask */
}

void StartRED_LEDTask(void *argument)
{
  /* USER CODE BEGIN StartRED_LEDTask */
	uint32_t ulNotificationValue;
  /* Infinite loop */
  for(;;)
  {
	  // Clear set bits on exit, and notifies the LCD to arm the system
	  if(xTaskNotifyWait(0, 0xffffffff, &ulNotificationValue, portMAX_DELAY)){
		  xTaskNotify(LCDLine1TaskHandle,ARMED,eSetValueWithOverwrite);
		  HAL_GPIO_WritePin(RED_LED_GPIO_Port, RED_LED_Pin, 1);
		  HAL_GPIO_WritePin(GREEN_LED_GPIO_Port, GREEN_LED_Pin, 0);
	  }
  }
  /* USER CODE END StartRED_LEDTask */
}

void StartGreen_LEDTask(void *argument)
{
  /* USER CODE BEGIN StartGreen_LEDTask */
	uint32_t ulNotificationValue;
  /* Infinite loop */
  for(;;)
  {
	  // Clear set bits on exit, and notifies the LCD to disarm the system
	  if(xTaskNotifyWait(0, 0xffffffff, &ulNotificationValue, portMAX_DELAY)){
		  HAL_UART_Transmit(&huart2, "WE Are in green\r\n", strlen("WE Are in green\r\n"), osWaitForever);
		// If it is a simple disarm, notify the LCD with disarm message,
		// Otherwise simply turn on Green LED
		if(ulNotificationValue==DISARMED){
			xTaskNotify(LCDLine1TaskHandle,DISARMED,eSetValueWithOverwrite);
		}
		HAL_GPIO_WritePin(RED_LED_GPIO_Port, RED_LED_Pin, 0);
		HAL_GPIO_WritePin(GREEN_LED_GPIO_Port, GREEN_LED_Pin, 1);
	  }
  }
  /* USER CODE END StartGreen_LEDTask */
}

void StartLCDLine1Task(void *argument)
{
  /* USER CODE BEGIN StartLCDLine1Task */
	uint32_t ulNotificationValue;

  /* Infinite loop */
  for(;;)
  {
	  if(xTaskNotifyWait(0, 0xffffffff, &ulNotificationValue, portMAX_DELAY)){

		  // use mutex to synchronize use of shared ressource (LCD screen)
		  osMutexAcquire(myMutexHandle, osWaitForever);

		  //SYSTEM ARMED
		  if(ulNotificationValue==ARMED){

			  HD44780_SetCursor(0,0);
			  HD44780_PrintStr("SYSTEM ARMED   ");
		  }
		  //SYSTEM DISARMED
		  else if(ulNotificationValue==DISARMED){

			  HD44780_SetCursor(0,0);
			  HD44780_PrintStr("SYSTEM DISARMED");
		  }
		  //OLD PASSWORD
		  else if(ulNotificationValue==OLD_PASSWORD){
			  HD44780_SetCursor(0,0);
			  HD44780_PrintStr("OLD PASSWORD:    ");
		  }
		  //NEW PASSWORD
		  else if(ulNotificationValue==NEW_PASSWORD){
			  HD44780_SetCursor(0,0);
			  HD44780_PrintStr("NEW PASSWORD:  ");
		  }
		  else{
			  //CLEAR SCREEN, ERROR...
			  HD44780_SetCursor(0,0);
			  HD44780_PrintStr("SYSTEM ERROR... ");
		  }
		  osMutexRelease(myMutexHandle);
	  }
  }
  /* USER CODE END StartLCDLine1Task */
}

void StartResetPwordTask(void *argument)
{
  /* USER CODE BEGIN StartResetPwordTask */
	uint32_t ulNotificationValue;
  /* Infinite loop */
  for(;;)
  {
	  if(xTaskNotifyWait(0, 0xffffffff, &ulNotificationValue, portMAX_DELAY)){
		// Always notify green LED (with different notification value),
		// as we are in DISARMED state by default
		xTaskNotify(Green_LEDTaskHandle,OLD_PASSWORD,eSetValueWithOverwrite);

		// If Old password is being entered
		if(ulNotificationValue==OLD_PASSWORD){
			xTaskNotify(LCDLine1TaskHandle,OLD_PASSWORD,eSetValueWithOverwrite);
		}
		// If New password is being entered
		else if(ulNotificationValue==NEW_PASSWORD){
			xTaskNotify(LCDLine1TaskHandle,NEW_PASSWORD,eSetValueWithOverwrite);
		}
	  }
  }
  /* USER CODE END StartResetPwordTask */
}

void StartPIRsensorTask(void *argument)
{
  /* USER CODE BEGIN StartPIRsensorTask */
  /* Infinite loop */
	uint8_t temp_is_armed;
	uint8_t seconds_cnt=0;

  for(;;)
  {

		osMutexAcquire(isArmedMutexHandle, osWaitForever);
		temp_is_armed=is_armed;
		osMutexRelease(isArmedMutexHandle);

		if(temp_is_armed && HAL_GPIO_ReadPin(PIR_Sensor_GPIO_Port, PIR_Sensor_Pin)==GPIO_PIN_SET){

			// Loop for 60 seconds
			seconds_cnt=60;
			while(seconds_cnt>=1){

				// Every second, get the state of the system.
				osMutexAcquire(isArmedMutexHandle, osWaitForever);
				temp_is_armed=is_armed;
				osMutexRelease(isArmedMutexHandle);

				osDelay(1000);

				// If the system is armed, notify LCDLine2TIM task with time count value and decrement the seconds count.
				// Otherwise notify that LCDLine2TIM task that the system is now in DISARMED state.
				if(temp_is_armed){
					xTaskNotify(LCDLine2TIMHandle,seconds_cnt,eSetValueWithOverwrite);
					seconds_cnt--;
				}
				else{
					break;
				}

			}
			// After 60 seconds are done and system is still in ARMED state,
			// sound the alarm if PIR detects movement
			__HAL_TIM_SET_COMPARE(&htim3,TIM_CHANNEL_3,0);

			if(temp_is_armed && HAL_GPIO_ReadPin(PIR_Sensor_GPIO_Port, PIR_Sensor_Pin)==GPIO_PIN_SET){
				HAL_UART_Transmit(&huart2, (uint8_t*)"ABOUT TO START THE BUZZER\r\n", strlen("ABOUT TO START THE BUZZER\r\n"), osWaitForever);
				__HAL_TIM_SET_COMPARE(&htim3,TIM_CHANNEL_3,500);
				osDelay(2000);
				__HAL_TIM_SET_COMPARE(&htim3,TIM_CHANNEL_3,0);
			}
			else{
				osDelay(1);
			}
		}
		else{
			osDelay(1);
		}
  }
  /* USER CODE END StartPIRsensorTask */
}

/* USER CODE BEGIN Header_StartLCDLine2TIMTask */
/**
* @brief Function implementing the LCDLine2TIM thread.
* @param argument: Not used
* @retval None
*/

// Task that displays the 60 second timer count once PIR detects movement.

/* USER CODE END Header_StartLCDLine2TIMTask */
void StartLCDLine2TIMTask(void *argument)
{
  /* USER CODE BEGIN StartLCDLine2TIMTask */
	uint32_t pulNotificationValue;
	char cnt[5];
	uint8_t temp_is_armed;
  /* Infinite loop */
  for(;;)
  {
	  if(xTaskNotifyWait(0, 0xffffffff, &pulNotificationValue, osWaitForever)){

		osMutexAcquire(isArmedMutexHandle, osWaitForever);
		temp_is_armed=is_armed;
		osMutexRelease(isArmedMutexHandle);

		osMutexAcquire(myMutexHandle, osWaitForever);

		// Clear the count value on screen
		HD44780_SetCursor(6,1);
		for(int i=0;i<7;i++){
			HD44780_PrintStr(" ");
		}

		// If the system is in DISARMED state, stop displaying the count. (In this case we would only have cleared)
		// Otherwise display the count value
		if(temp_is_armed){
			HAL_UART_Transmit(&huart2, "why are we here>>>???\r\n", strlen("why are we here>>>???\r\n"), osWaitForever);
			HD44780_SetCursor(10, 1);
			sprintf(cnt,"%d",(int)pulNotificationValue);
			HD44780_PrintStr(cnt);
		}

		osMutexRelease(myMutexHandle);
	  }
  }
  /* USER CODE END StartLCDLine2TIMTask */
}

void HAL_TIM_PeriodElapsedCallback(TIM_HandleTypeDef *htim)
{
  if (htim->Instance == TIM6)
  {
    HAL_IncTick();
  }
}

void Error_Handler(void)
{
  __disable_irq();
  while (1)
  {
  }
}
